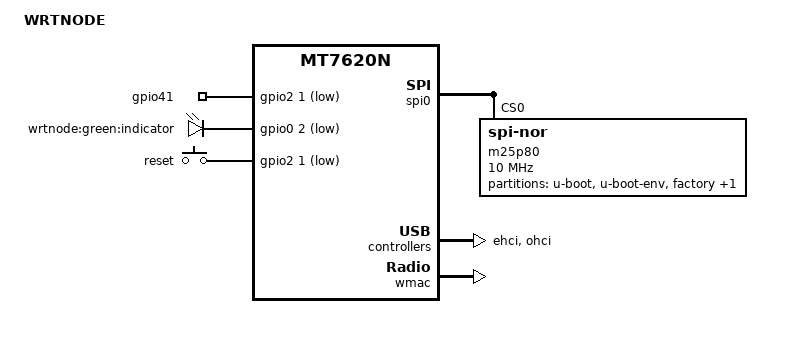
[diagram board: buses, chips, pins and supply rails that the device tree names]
/dts-v1/;

#include "mt7620n.dtsi"

#include <dt-bindings/gpio/gpio.h>
#include <dt-bindings/input/input.h>

/ {
	compatible = "wrtnode,wrtnode", "ralink,mt7620n-soc";
	model = "WRTNODE";

	aliases {
		led-boot = &led_indicator;
		led-failsafe = &led_indicator;
		led-running = &led_indicator;
		led-upgrade = &led_indicator;
	};
	
	gpio-export {
		compatible = "gpio-export";
		#size-cells = <0>;

		gpio41 {
			gpio-export,name = "gpio41";
			gpio-export,output = <1>;
			gpios = <&gpio2 1 1>;
		};
	};
	
	leds {
		compatible = "gpio-leds";

		led_indicator: indicator {
			label = "wrtnode:green:indicator";
			gpios = <&gpio0 2 1>;
		};
	};
	
	gpio-keys-polled {
		compatible = "gpio-keys-polled";
		poll-interval = <20>;

		reset {
			label = "reset";
			gpios = <&gpio2 1 1>;
			linux,code = <0x198>;
		};
	};
};

&gpio1 {
	status = "okay";
};

&gpio2 {
	status = "okay";
};

&gpio3 {
	status = "okay";
};

&spi0 {
	status = "okay";

	m25p80@0 {
		compatible = "jedec,spi-nor";
		reg = <0>;
		spi-max-frequency = <10000000>;

		partitions {
			compatible = "fixed-partitions";
			#address-cells = <1>;
			#size-cells = <1>;

			partition@0 {
				label = "u-boot";
				reg = <0x0 0x30000>;
			};

			partition@30000 {
				label = "u-boot-env";
				reg = <0x30000 0x10000>;
				read-only;
			};

			factory: partition@40000 {
				label = "factory";
				reg = <0x40000 0x10000>;
				read-only;
			};

			partition@50000 {
				compatible = "denx,uimage";
				label = "firmware";
				reg = <0x50000 0xfb0000>;
			};
		};
	};
};

&ehci {
	status = "okay";
};

&ohci {
	status = "okay";
};

&ethernet {
	mtd-mac-address = <&factory 0x4>;
	mediatek,portmap = "wllll";
};

&wmac {
	ralink,mtd-eeprom = <&factory 0>;
};

&pinctrl {
	state_default: pinctrl0 {
		default {
			ralink,group = "i2c", "spi refclk", "wled", "ephy";
			ralink,function = "gpio";
		};
	};
};
